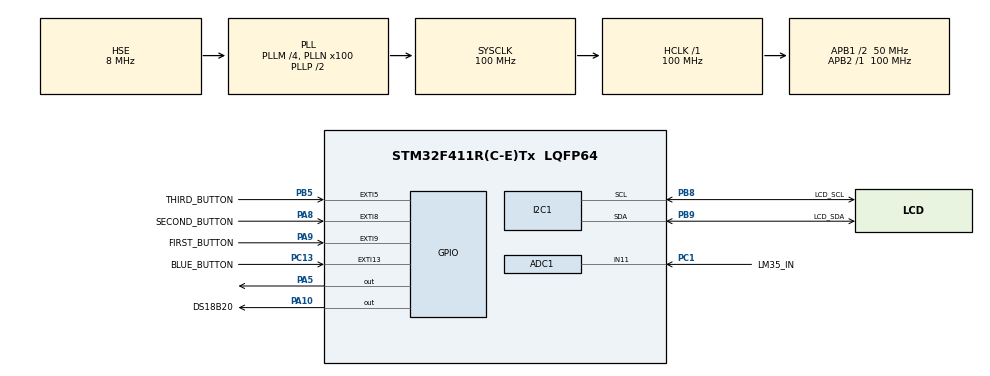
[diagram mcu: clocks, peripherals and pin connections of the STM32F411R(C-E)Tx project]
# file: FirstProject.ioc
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ADC1.Channel-2\#ChannelRegularConversion=ADC_CHANNEL_11
ADC1.ClockPrescaler=ADC_CLOCK_SYNC_PCLK_DIV8
ADC1.ContinuousConvMode=ENABLE
ADC1.EOCSelection=ADC_EOC_SEQ_CONV
ADC1.InjNumberOfConversion=0
ADC1.NbrOfConversionFlag=1
ADC1.Rank-2\#ChannelRegularConversion=1
ADC1.SamplingTime-2\#ChannelRegularConversion=ADC_SAMPLETIME_480CYCLES
ADC1.master=1
I2C1.I2C_Mode=I2C_Standard
I2C1.NoStretchMode=I2C_NOSTRETCH_DISABLE
Mcu.Family=STM32F4
Mcu.Name=STM32F411R(C-E)Tx
Mcu.Package=LQFP64
NVIC.ADC_IRQn=true\:0\:0\:false\:false\:true\:true\:true
NVIC.EXTI15_10_IRQn=true\:0\:0\:false\:false\:true\:true\:true
NVIC.PriorityGroup=NVIC_PRIORITYGROUP_4
NVIC.TIM3_IRQn=true\:0\:0\:false\:false\:true\:true\:true
PA10.GPIO_Label=DS18B20
PA10.Signal=GPIO_Output
PA13.Mode=Serial_Wire
PA13.Signal=SYS_JTMS-SWDIO
PA14.Mode=Serial_Wire
PA14.Signal=SYS_JTCK-SWCLK
PA5.Signal=GPIO_Output
PA8.GPIO_Label=SECOND_BUTTON
PA8.GPIO_ModeDefaultEXTI=GPIO_MODE_IT_FALLING
PA8.Signal=GPXTI8
PA9.GPIO_Label=FIRST_BUTTON
PA9.GPIO_ModeDefaultEXTI=GPIO_MODE_IT_FALLING
PA9.Signal=GPXTI9
PB5.GPIO_Label=THIRD_BUTTON
PB5.GPIO_ModeDefaultEXTI=GPIO_MODE_IT_FALLING
PB5.Signal=GPXTI5
PB8.GPIO_Label=LCD_SCL
PB8.Mode=I2C
PB8.Signal=I2C1_SCL
PB9.GPIO_Label=LCD_SDA
PB9.Mode=I2C
PB9.Signal=I2C1_SDA
PC1.GPIO_Label=LM35_IN
PC1.Signal=ADCx_IN11
PC13-ANTI_TAMP.GPIO_Label=BLUE_BUTTON
PC13-ANTI_TAMP.GPIO_ModeDefaultEXTI=GPIO_MODE_IT_FALLING
PC13-ANTI_TAMP.Signal=GPXTI13
PH0\ -\ OSC_IN.Mode=HSE-External-Oscillator
PH0\ -\ OSC_IN.Signal=RCC_OSC_IN
PH1\ -\ OSC_OUT.Mode=HSE-External-Oscillator
PH1\ -\ OSC_OUT.Signal=RCC_OSC_OUT
ProjectManager.HeapSize=0x200
ProjectManager.StackSize=0x400
ProjectManager.TargetToolchain=STM32CubeIDE
RCC.48MHZClocksFreq_Value=50000000
RCC.AHBFreq_Value=100000000
RCC.APB1CLKDivider=RCC_HCLK_DIV2
RCC.APB1Freq_Value=50000000
RCC.APB1TimFreq_Value=100000000
RCC.APB2Freq_Value=100000000
RCC.APB2TimFreq_Value=100000000
RCC.CortexFreq_Value=100000000
RCC.HCLKFreq_Value=100000000
RCC.HSE_VALUE=8000000
RCC.HSI_VALUE=16000000
RCC.LSE_VALUE=32768
RCC.PLLM=4
RCC.PLLN=100
RCC.PLLSourceVirtual=RCC_PLLSOURCE_HSE
RCC.SYSCLKFreq_VALUE=100000000
RCC.SYSCLKSource=RCC_SYSCLKSOURCE_PLLCLK
RCC.VCOOutputFreq_Value=200000000
SH.ADCx_IN11.0=ADC1_IN11,IN11
TIM3.AutoReloadPreload=TIM_AUTORELOAD_PRELOAD_ENABLE
TIM3.ClockDivision=TIM_CLOCKDIVISION_DIV1
TIM3.Period=4999
TIM3.Prescaler=199
VP_ADC1_TempSens_Input.Mode=IN-TempSens
VP_TIM1_VS_ClockSourceINT.Mode=Internal
VP_TIM3_VS_ClockSourceINT.Mode=Internal
board=custom

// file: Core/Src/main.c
/* USER CODE BEGIN Header */
/**
 ******************************************************************************
 * @file           : main.c
 * @brief          : Main program body
 ******************************************************************************
 * @attention
 *
 * <h2><center>&copy; Copyright (c) 2020 STMicroelectronics.
 * All rights reserved.</center></h2>
 *
 * This software component is licensed by ST under BSD 3-Clause license,
 * the "License"; You may not use this file except in compliance with the
 * License. You may obtain a copy of the License at:
 *                        opensource.org/licenses/BSD-3-Clause
 *
 ******************************************************************************
 */
/*PINS AND TIMERS CONFIGURATION
 *
 * TIM1 - uzywany do obliczenia opóxnienia 1 us
 * TIM3 - timer dla systemowego czasu (przerwanie 10 ms)
 * PC13 - niebieski, wbudowany przycisk
 * PC1 (A4) - wejście analogowe dla LM35
 * PA5 (6) - wyjście dla wbudowanej diody
 * PB9 (SDA) - SDA dla LCD 1602
 * PB8 (SCL) - SCL dla LCD 1602
 *
 * */
/* USER CODE END Header */

#include "main.h"

/* USER CODE BEGIN Includes */
#include "timer.h"
#include "main_loop.h"
#include "temperature.h"
/* USER CODE END Includes */

ADC_HandleTypeDef hadc1;

I2C_HandleTypeDef hi2c1;

TIM_HandleTypeDef htim1;
TIM_HandleTypeDef htim3;

void SystemClock_Config(void);
static void MX_GPIO_Init(void);
static void MX_TIM3_Init(void);
static void MX_I2C1_Init(void);
static void MX_ADC1_Init(void);
static void MX_TIM1_Init(void);

int main(void)
{

  /* MCU Configuration--------------------------------------------------------*/

  /* Reset of all peripherals, Initializes the Flash interface and the Systick. */
  HAL_Init();

  /* Configure the system clock */
  SystemClock_Config();

  /* Initialize all configured peripherals */
  MX_GPIO_Init();
  MX_TIM3_Init();
  MX_I2C1_Init();
  MX_ADC1_Init();
  MX_TIM1_Init();
  /* USER CODE BEGIN 2 */
  Initialize();
  /* USER CODE END 2 */

  /* Infinite loop */
  /* USER CODE BEGIN WHILE */
  while (1)
  {
	  Main_Loop();

    /* USER CODE END WHILE */

  }
}

void SystemClock_Config(void)
{
  RCC_OscInitTypeDef RCC_OscInitStruct = {0};
  RCC_ClkInitTypeDef RCC_ClkInitStruct = {0};

  /** Configure the main internal regulator output voltage
  */
  __HAL_RCC_PWR_CLK_ENABLE();
  __HAL_PWR_VOLTAGESCALING_CONFIG(PWR_REGULATOR_VOLTAGE_SCALE1);
  /** Initializes the CPU, AHB and APB busses clocks
  */
  RCC_OscInitStruct.OscillatorType = RCC_OSCILLATORTYPE_HSE;
  RCC_OscInitStruct.HSEState = RCC_HSE_ON;
  RCC_OscInitStruct.PLL.PLLState = RCC_PLL_ON;
  RCC_OscInitStruct.PLL.PLLSource = RCC_PLLSOURCE_HSE;
  RCC_OscInitStruct.PLL.PLLM = 4;
  RCC_OscInitStruct.PLL.PLLN = 100;
  RCC_OscInitStruct.PLL.PLLP = RCC_PLLP_DIV2;
  RCC_OscInitStruct.PLL.PLLQ = 4;
  if (HAL_RCC_OscConfig(&RCC_OscInitStruct) != HAL_OK)
  {
    Error_Handler();
  }
  /** Initializes the CPU, AHB and APB busses clocks
  */
  RCC_ClkInitStruct.ClockType = RCC_CLOCKTYPE_HCLK|RCC_CLOCKTYPE_SYSCLK
                              |RCC_CLOCKTYPE_PCLK1|RCC_CLOCKTYPE_PCLK2;
  RCC_ClkInitStruct.SYSCLKSource = RCC_SYSCLKSOURCE_PLLCLK;
  RCC_ClkInitStruct.AHBCLKDivider = RCC_SYSCLK_DIV1;
  RCC_ClkInitStruct.APB1CLKDivider = RCC_HCLK_DIV2;
  RCC_ClkInitStruct.APB2CLKDivider = RCC_HCLK_DIV1;

  if (HAL_RCC_ClockConfig(&RCC_ClkInitStruct, FLASH_LATENCY_3) != HAL_OK)
  {
    Error_Handler();
  }
}

static void MX_ADC1_Init(void)
{

  ADC_ChannelConfTypeDef sConfig = {0};

  /** Configure the global features of the ADC (Clock, Resolution, Data Alignment and number of conversion)
  */
  hadc1.Instance = ADC1;
  hadc1.Init.ClockPrescaler = ADC_CLOCK_SYNC_PCLK_DIV8;
  hadc1.Init.Resolution = ADC_RESOLUTION_12B;
  hadc1.Init.ScanConvMode = DISABLE;
  hadc1.Init.ContinuousConvMode = ENABLE;
  hadc1.Init.DiscontinuousConvMode = DISABLE;
  hadc1.Init.ExternalTrigConvEdge = ADC_EXTERNALTRIGCONVEDGE_NONE;
  hadc1.Init.ExternalTrigConv = ADC_SOFTWARE_START;
  hadc1.Init.DataAlign = ADC_DATAALIGN_RIGHT;
  hadc1.Init.NbrOfConversion = 1;
  hadc1.Init.DMAContinuousRequests = DISABLE;
  hadc1.Init.EOCSelection = ADC_EOC_SEQ_CONV;
  if (HAL_ADC_Init(&hadc1) != HAL_OK)
  {
    Error_Handler();
  }
  /** Configure for the selected ADC regular channel its corresponding rank in the sequencer and its sample time.
  */
  sConfig.Channel = ADC_CHANNEL_11;
  sConfig.Rank = 1;
  sConfig.SamplingTime = ADC_SAMPLETIME_480CYCLES;
  if (HAL_ADC_ConfigChannel(&hadc1, &sConfig) != HAL_OK)
  {
    Error_Handler();
  }

}

static void MX_I2C1_Init(void)
{

  hi2c1.Instance = I2C1;
  hi2c1.Init.ClockSpeed = 100000;
  hi2c1.Init.DutyCycle = I2C_DUTYCYCLE_2;
  hi2c1.Init.OwnAddress1 = 0;
  hi2c1.Init.AddressingMode = I2C_ADDRESSINGMODE_7BIT;
  hi2c1.Init.DualAddressMode = I2C_DUALADDRESS_DISABLE;
  hi2c1.Init.OwnAddress2 = 0;
  hi2c1.Init.GeneralCallMode = I2C_GENERALCALL_DISABLE;
  hi2c1.Init.NoStretchMode = I2C_NOSTRETCH_DISABLE;
  if (HAL_I2C_Init(&hi2c1) != HAL_OK)
  {
    Error_Handler();
  }

}

static void MX_TIM1_Init(void)
{

  TIM_ClockConfigTypeDef sClockSourceConfig = {0};
  TIM_MasterConfigTypeDef sMasterConfig = {0};

  htim1.Instance = TIM1;
  htim1.Init.Prescaler = 99;
  htim1.Init.CounterMode = TIM_COUNTERMODE_UP;
  htim1.Init.Period = 65535;
  htim1.Init.ClockDivision = TIM_CLOCKDIVISION_DIV1;
  htim1.Init.RepetitionCounter = 0;
  htim1.Init.AutoReloadPreload = TIM_AUTORELOAD_PRELOAD_DISABLE;
  if (HAL_TIM_Base_Init(&htim1) != HAL_OK)
  {
    Error_Handler();
  }
  sClockSourceConfig.ClockSource = TIM_CLOCKSOURCE_INTERNAL;
  if (HAL_TIM_ConfigClockSource(&htim1, &sClockSourceConfig) != HAL_OK)
  {
    Error_Handler();
  }
  sMasterConfig.MasterOutputTrigger = TIM_TRGO_RESET;
  sMasterConfig.MasterSlaveMode = TIM_MASTERSLAVEMODE_DISABLE;
  if (HAL_TIMEx_MasterConfigSynchronization(&htim1, &sMasterConfig) != HAL_OK)
  {
    Error_Handler();
  }

}

static void MX_TIM3_Init(void)
{

  TIM_ClockConfigTypeDef sClockSourceConfig = {0};
  TIM_MasterConfigTypeDef sMasterConfig = {0};

  htim3.Instance = TIM3;
  htim3.Init.Prescaler = 199;
  htim3.Init.CounterMode = TIM_COUNTERMODE_UP;
  htim3.Init.Period = 4999;
  htim3.Init.ClockDivision = TIM_CLOCKDIVISION_DIV1;
  htim3.Init.AutoReloadPreload = TIM_AUTORELOAD_PRELOAD_ENABLE;
  if (HAL_TIM_Base_Init(&htim3) != HAL_OK)
  {
    Error_Handler();
  }
  sClockSourceConfig.ClockSource = TIM_CLOCKSOURCE_INTERNAL;
  if (HAL_TIM_ConfigClockSource(&htim3, &sClockSourceConfig) != HAL_OK)
  {
    Error_Handler();
  }
  sMasterConfig.MasterOutputTrigger = TIM_TRGO_RESET;
  sMasterConfig.MasterSlaveMode = TIM_MASTERSLAVEMODE_DISABLE;
  if (HAL_TIMEx_MasterConfigSynchronization(&htim3, &sMasterConfig) != HAL_OK)
  {
    Error_Handler();
  }

}

static void MX_GPIO_Init(void)
{
  GPIO_InitTypeDef GPIO_InitStruct = {0};

  /* GPIO Ports Clock Enable */
  __HAL_RCC_GPIOC_CLK_ENABLE();
  __HAL_RCC_GPIOH_CLK_ENABLE();
  __HAL_RCC_GPIOA_CLK_ENABLE();
  __HAL_RCC_GPIOB_CLK_ENABLE();

  /*Configure GPIO pin Output Level */
  HAL_GPIO_WritePin(GPIOA, GPIO_PIN_5|DS18B20_Pin, GPIO_PIN_RESET);

  /*Configure GPIO pin : BLUE_BUTTON_Pin */
  GPIO_InitStruct.Pin = BLUE_BUTTON_Pin;
  GPIO_InitStruct.Mode = GPIO_MODE_IT_FALLING;
  GPIO_InitStruct.Pull = GPIO_NOPULL;
  HAL_GPIO_Init(BLUE_BUTTON_GPIO_Port, &GPIO_InitStruct);

  /*Configure GPIO pins : PA5 DS18B20_Pin */
  GPIO_InitStruct.Pin = GPIO_PIN_5|DS18B20_Pin;
  GPIO_InitStruct.Mode = GPIO_MODE_OUTPUT_PP;
  GPIO_InitStruct.Pull = GPIO_NOPULL;
  GPIO_InitStruct.Speed = GPIO_SPEED_FREQ_LOW;
  HAL_GPIO_Init(GPIOA, &GPIO_InitStruct);

  /*Configure GPIO pins : SECOND_BUTTON_Pin FIRST_BUTTON_Pin */
  GPIO_InitStruct.Pin = SECOND_BUTTON_Pin|FIRST_BUTTON_Pin;
  GPIO_InitStruct.Mode = GPIO_MODE_IT_FALLING;
  GPIO_InitStruct.Pull = GPIO_NOPULL;
  HAL_GPIO_Init(GPIOA, &GPIO_InitStruct);

  /*Configure GPIO pin : THIRD_BUTTON_Pin */
  GPIO_InitStruct.Pin = THIRD_BUTTON_Pin;
  GPIO_InitStruct.Mode = GPIO_MODE_IT_FALLING;
  GPIO_InitStruct.Pull = GPIO_NOPULL;
  HAL_GPIO_Init(THIRD_BUTTON_GPIO_Port, &GPIO_InitStruct);

  /* EXTI interrupt init*/
  HAL_NVIC_SetPriority(EXTI15_10_IRQn, 0, 0);
  HAL_NVIC_EnableIRQ(EXTI15_10_IRQn);

}

/* USER CODE BEGIN 4 */
void HAL_GPIO_EXTI_Callback(uint16_t GPIO_Pin)
{

	if (GPIO_Pin == BLUE_BUTTON_Pin)
	{
		HAL_GPIO_TogglePin(GPIOA, GPIO_PIN_5);

	}
	else if(GPIO_Pin == THIRD_BUTTON_Pin)
	{
		HAL_GPIO_TogglePin(GPIOA, GPIO_PIN_5);

	}
	else
	{
		__NOP();
	}
	//HAL_GPIO_WritePin(GPIOA, GPIO_PIN_5, HAL_GPIO_ReadPin(BlueButton_GPIO_Port, BlueButton_Pin));
}
void HAL_TIM_PeriodElapsedCallback(TIM_HandleTypeDef *htim)
{
	if (htim->Instance == TIM3)
	{
		Time_Service();
	}
}

void HAL_ADC_ConvCpltCallback(ADC_HandleTypeDef *hadc)
{
	Temperature_Service(HAL_ADC_GetValue(hadc));
}
/* USER CODE END 4 */

void Error_Handler(void)
{
}

/************************ (C) COPYRIGHT STMicroelectronics *****END OF FILE****/
